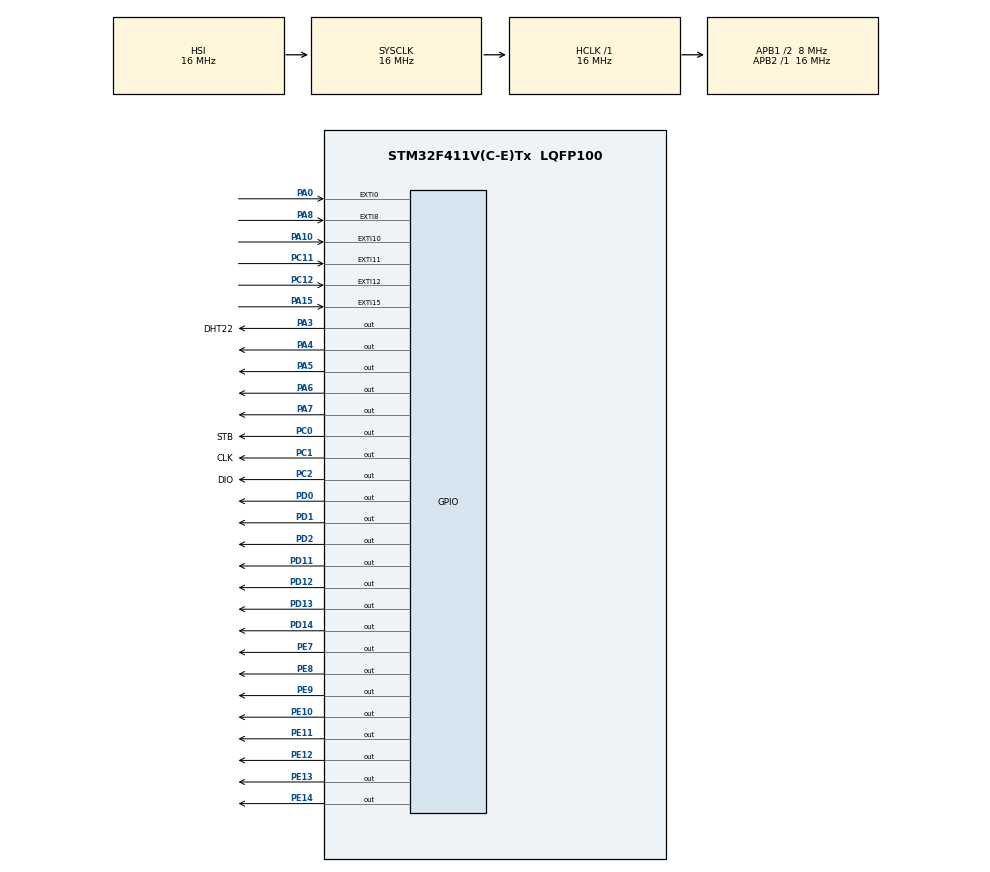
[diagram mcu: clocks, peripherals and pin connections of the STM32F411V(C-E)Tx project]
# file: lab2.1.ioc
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Mcu.Family=STM32F4
Mcu.Name=STM32F411V(C-E)Tx
Mcu.Package=LQFP100
NVIC.EXTI0_IRQn=true\:0\:0\:false\:false\:true\:true\:true\:true
NVIC.PriorityGroup=NVIC_PRIORITYGROUP_4
NVIC.RTC_WKUP_IRQn=true\:0\:0\:false\:false\:true\:true\:true\:true
NVIC.TIM2_IRQn=true\:0\:0\:false\:false\:true\:true\:true\:true
NVIC.TIM3_IRQn=true\:0\:0\:false\:false\:true\:true\:true\:true
PA0-WKUP.GPIO_ModeDefaultEXTI=GPIO_MODE_IT_FALLING
PA0-WKUP.Signal=GPXTI0
PA10.Signal=GPXTI10
PA13.Mode=Serial_Wire
PA13.Signal=SYS_JTMS-SWDIO
PA14.Mode=Serial_Wire
PA14.Signal=SYS_JTCK-SWCLK
PA15.Signal=GPXTI15
PA3.GPIO_Label=DHT22
PA3.Signal=GPIO_Output
PA4.Signal=GPIO_Output
PA5.Signal=GPIO_Output
PA6.Signal=GPIO_Output
PA7.Signal=GPIO_Output
PA8.Signal=GPXTI8
PC0.GPIO_Label=STB
PC0.Signal=GPIO_Output
PC1.GPIO_Label=CLK
PC1.Signal=GPIO_Output
PC11.Signal=GPXTI11
PC12.Signal=GPXTI12
PC2.GPIO_Label=DIO
PC2.Signal=GPIO_Output
PD0.Signal=GPIO_Output
PD1.Signal=GPIO_Output
PD11.Signal=GPIO_Output
PD12.Signal=GPIO_Output
PD13.Signal=GPIO_Output
PD14.Signal=GPIO_Output
PD2.Signal=GPIO_Output
PE10.Signal=GPIO_Output
PE11.Signal=GPIO_Output
PE12.Signal=GPIO_Output
PE13.Signal=GPIO_Output
PE14.Signal=GPIO_Output
PE7.Signal=GPIO_Output
PE8.Signal=GPIO_Output
PE9.Signal=GPIO_Output
PH0\ -\ OSC_IN.Mode=HSE-External-Oscillator
PH0\ -\ OSC_IN.Signal=RCC_OSC_IN
PH1\ -\ OSC_OUT.Mode=HSE-External-Oscillator
PH1\ -\ OSC_OUT.Signal=RCC_OSC_OUT
ProjectManager.HeapSize=0x200
ProjectManager.StackSize=0x400
ProjectManager.TargetToolchain=STM32CubeIDE
RCC.48MHZClocksFreq_Value=56250000
RCC.AHBFreq_Value=16000000
RCC.APB1CLKDivider=RCC_HCLK_DIV2
RCC.APB1Freq_Value=8000000
RCC.APB1TimFreq_Value=16000000
RCC.APB2Freq_Value=16000000
RCC.APB2TimFreq_Value=16000000
RCC.CortexFreq_Value=16000000
RCC.HCLKFreq_Value=16000000
RCC.HSE_VALUE=25000000
RCC.HSI_VALUE=16000000
RCC.LSE_VALUE=32768
RCC.PLLM=8
RCC.PLLN=72
RCC.PLLSourceVirtual=RCC_PLLSOURCE_HSE
RCC.SYSCLKFreq_VALUE=16000000
RCC.VCOOutputFreq_Value=225000000
RTC.WakeUpClock=RTC_WAKEUPCLOCK_RTCCLK_DIV16
RTC.WakeUpCounter=60000
TIM1.Period=0xffff
TIM1.Prescaler=16-1
TIM2.Period=1000
TIM2.Prescaler=16-1
TIM3.Period=60000
TIM3.Prescaler=16000-1
VP_RTC_VS_RTC_Activate.Mode=RTC_Enabled
VP_RTC_VS_RTC_WakeUp_intern.Mode=WakeUp
VP_TIM1_VS_ClockSourceINT.Mode=Internal
VP_TIM2_VS_ClockSourceINT.Mode=Internal
VP_TIM3_VS_ClockSourceINT.Mode=Internal
board=custom

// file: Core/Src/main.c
/* USER CODE BEGIN Header */
/**
  ******************************************************************************
  * @file           : main.c
  * @brief          : Main program body
  ******************************************************************************
  * @attention
  *
  * Copyright (c) 2023 STMicroelectronics.
  * All rights reserved.
  *
  * This software is licensed under terms that can be found in the LICENSE file
  * in the root directory of this software component.
  * If no LICENSE file comes with this software, it is provided AS-IS.
  *
  ******************************************************************************
  */
/* USER CODE END Header */
#include "main.h"
#include "rtc.h"
#include "tim.h"
#include "gpio.h"

/* USER CODE BEGIN Includes */
#include "stdbool.h"

/* USER CODE END Includes */

void SystemClock_Config(void);

/* USER CODE BEGIN 0 */

//clock variables and functions

RTC_TimeTypeDef sTime;
RTC_DateTypeDef sDate;

GPIO_TypeDef* HOUR1 = GPIOE;
uint16_t hour_pins1[] = {GPIO_PIN_7,GPIO_PIN_8 , GPIO_PIN_9, GPIO_PIN_10};

GPIO_TypeDef* HOUR2 = GPIOE;
uint16_t hour_pins2[] = {GPIO_PIN_11, GPIO_PIN_12, GPIO_PIN_13, GPIO_PIN_14};

GPIO_TypeDef* MIN1 = GPIOA;
uint16_t min_pins1[] = {GPIO_PIN_4, GPIO_PIN_5, GPIO_PIN_6, GPIO_PIN_7};

GPIO_TypeDef* MIN2 = GPIOD;
uint16_t min_pins2[] = {GPIO_PIN_11, GPIO_PIN_12, GPIO_PIN_13, GPIO_PIN_14};

void write_lamp(GPIO_TypeDef* H1_port, uint16_t* pins, int n){
  int zeros[4]={0};
  for(int i=0;n>0;i++)
      {
      zeros[i]=n%2;
      n=n/2;
     }
  for (int i=0; i<4; ++i){
  HAL_GPIO_WritePin(H1_port, pins[i], zeros[i]);}
}

void set_time(uint8_t hrs, uint8_t mins){
  sTime.Hours = hrs;
  sTime.Minutes = mins;
  sTime.Seconds = 0;
  HAL_RTC_SetTime(&hrtc, &sTime, RTC_FORMAT_BIN);
}

void get_and_write_time(){
//  RTC_TimeTypeDef sTime;
  HAL_RTC_GetTime(&hrtc, &sTime, RTC_FORMAT_BIN);
  uint8_t hours = sTime.Minutes;
  uint8_t mins = sTime.Seconds;
  write_lamp(HOUR1, hour_pins1, hours/10);
  write_lamp(HOUR2, hour_pins2, hours%10);
  write_lamp(MIN1, min_pins1, mins/10);
  write_lamp(MIN2, min_pins2, mins%10);
}

void reset_lamps(){
  write_lamp(HOUR1, hour_pins1, 0);
  write_lamp(HOUR2, hour_pins2, 0);
  write_lamp(MIN1, min_pins1, 0);
  write_lamp(MIN2, min_pins2, 0);
}

void standart_test(){
	for (int i =0; i<10; ++i){
		write_lamp(HOUR1, hour_pins1, i);
	  write_lamp(HOUR2, hour_pins2, i);
	  write_lamp(MIN1, min_pins1, i);
	  write_lamp(MIN2, min_pins2, i);
	  HAL_Delay(1000);
	  }
	write_lamp(HOUR1, hour_pins1, 1);
		  write_lamp(HOUR2, hour_pins2, 2);
		  write_lamp(MIN1, min_pins1, 3);
		  write_lamp(MIN2, min_pins2, 4);
		  HAL_Delay(2000);
}

//global pin variables

GPIO_TypeDef* port = GPIOC;
int CLK_PIN = CLK_Pin;
int DIO_PIN = DIO_Pin;
int STB_PIN = STB_Pin;
GPIO_TypeDef* DHT22_PORT = GPIOA;
int DHT22_PIN = DHT22_Pin;

//multi-use helper functions

GPIO_InitTypeDef GPIO_InitStruct = {0};

void chmode_out(GPIO_TypeDef* GPIO_PORT, int PIN){
  GPIO_InitStruct.Pin = PIN;
  GPIO_InitStruct.Mode = GPIO_MODE_OUTPUT_PP;
  HAL_GPIO_Init(GPIO_PORT, &GPIO_InitStruct);
}

void chmode_in(GPIO_TypeDef* GPIO_PORT, int PIN){
  GPIO_InitStruct.Pin = PIN;
  GPIO_InitStruct.Mode = GPIO_MODE_INPUT;
  HAL_GPIO_Init(GPIO_PORT, &GPIO_InitStruct);
}

void delay_us (uint16_t us)
{
  __HAL_TIM_SET_COUNTER(&htim1, 0);
  while (__HAL_TIM_GET_COUNTER(&htim1) < us);
}

//functions for TM1638

const uint8_t SegmCodes[18] =
{
  0x3F, // 0
  0x06, // 1
  0x5B, // 2
  0x4F, // 3
  0x66, // 4
  0x6D, // 5
  0x7D, // 6
  0x07, // 7
  0x7F, // 8
  0x6F, // 9
  0x77, // A
  0x7c, // b
  0x39, // C
  0x5E, // d
  0x79, // E
  0x71,  // F
  //!!!! not hex
  0x38,// L - 10
  0x76 // H - 11
};

void shift_out(GPIO_TypeDef* port, int CLK_PIN,
    int DIO_PIN, bool dir, uint8_t command){
    for (int i = 0; i < 8; i++)
    {
        bool output = false;
        if (dir)
        {
            output = command & 0b10000000;
            command = command << 1;
        }
        else
        {
            output = command & 0b00000001;
            command = command >> 1;
        }
        HAL_GPIO_WritePin(port, DIO_PIN, output);
        HAL_GPIO_WritePin(port, CLK_PIN, 1);
        delay_us(10);
        HAL_GPIO_WritePin(port, CLK_PIN, 0);
        delay_us(10);
    }
  }

  void send_command(uint8_t bt){
    HAL_GPIO_WritePin(port, STB_PIN, 0);
    shift_out(port, CLK_PIN,  DIO_PIN, false, bt);
    HAL_GPIO_WritePin(port, STB_PIN, 1);
  }
  void send_args(uint8_t bt){
    shift_out(port, CLK_PIN,  DIO_PIN, false, bt);
  }

  void reset_TM(){
    send_command(0x40);
    HAL_GPIO_WritePin(port, STB_PIN, 0);
    send_args(0xc0);
    for (uint8_t i = 0; i < 16; i++){
         send_args(0x00);
       }
    HAL_GPIO_WritePin(port, STB_PIN, 1);
  }

  void print_num(int n){
      send_command(0x40);
      HAL_GPIO_WritePin(GPIOD, STB_Pin, 0);
      send_args(0xc0);
      for (int i =0; i<8; ++i){
      send_args(SegmCodes[n%10]);
      n=n/10;
      send_args(0x00);}
      HAL_GPIO_WritePin(GPIOD, STB_Pin, 1);
    }

  void print_temp(int temp){
    send_command(0x40);
    HAL_GPIO_WritePin(GPIOD, STB_Pin, 0);
    send_args(0xc0);
    send_args(SegmCodes[temp/10]);
    send_args(0x00);
    send_args(SegmCodes[temp%10]);
    send_args(0x00);
    send_args(99);
    send_args(0x00);
    send_args(SegmCodes[0x0C]);
    HAL_GPIO_WritePin(GPIOD, STB_Pin, 1);
  }

  void print_hum(int hum){
      send_command(0x40);
      HAL_GPIO_WritePin(GPIOD, STB_Pin, 0);
      send_args(0xca);
      send_args(SegmCodes[hum/10]);
      send_args(0x00);
      send_args(SegmCodes[hum%10]);
      send_args(0x00);
      send_args(SegmCodes[0x11]);
      HAL_GPIO_WritePin(GPIOD, STB_Pin, 1);
    }

//functions for DHT22

  void DHT22_Start (void)
  {
//  DHT22_PORT->MODER |= GPIO_MODER_MODER3_0;
  chmode_out(DHT22_PORT, DHT22_PIN);
    HAL_GPIO_WritePin (DHT22_PORT, DHT22_PIN, 0);
    delay_us (1200);
    HAL_GPIO_WritePin (DHT22_PORT, DHT22_PIN, 1);
    delay_us (20);
//    DHT22_PORT->MODER &= ~(GPIO_MODER_MODER3);
    chmode_in(DHT22_PORT, DHT22_PIN);
  }

  uint8_t DHT22_Check_Response (void)
  {
//    DHT22_PORT->MODER &= ~(GPIO_MODER_MODER3);
  chmode_in(DHT22_PORT, DHT22_PIN);
    uint8_t Response = 0;
    delay_us (40);
    if (!(HAL_GPIO_ReadPin (DHT22_PORT, DHT22_PIN)))
    {
      delay_us (80);
      if ((HAL_GPIO_ReadPin (DHT22_PORT, DHT22_PIN))) Response = 1;
      else Response = -1;
    }

    while ((HAL_GPIO_ReadPin (DHT22_PORT, DHT22_PIN)));
    return Response;
  }

  uint8_t DHT22_Read (void)
  {
    uint8_t i,j;
    for (j=0;j<8;j++)
    {
      while (!(HAL_GPIO_ReadPin (DHT22_PORT, DHT22_PIN)));
      delay_us (40);
      if (!(HAL_GPIO_ReadPin (DHT22_PORT, DHT22_PIN)))
      {
        i&= ~(1<<(7-j));
      }
      else i|= (1<<(7-j));
      while ((HAL_GPIO_ReadPin (DHT22_PORT, DHT22_PIN)));
    }

    return i;
  }

  void TH_read_write(){
      DHT22_Start();
        uint8_t response = DHT22_Check_Response();
        if (response){
          float temp_Celsius = 0;
          float Humidity = 0;
          uint8_t hum1 = DHT22_Read();
          uint8_t hum2 = DHT22_Read();
          uint8_t tempC1 = DHT22_Read();
          uint8_t tempC2 = DHT22_Read();
          uint8_t SUM = DHT22_Read();
          uint8_t CHECK = hum1 + hum2 + tempC1 + tempC2;
          reset_TM();
          if (CHECK == SUM){
           if (tempC1>127){
             temp_Celsius = (float)tempC2/10*(-1);
           }
           else{
             temp_Celsius = (float)((tempC1<<8)|tempC2)/10;
           }
           Humidity = (float) ((hum1<<8)|hum2)/10;
           print_temp((int)temp_Celsius);
           print_hum((int)Humidity);
          }
          print_temp((int)temp_Celsius);
          print_hum((int)Humidity);
        }
        else{
          print_temp(0);
          print_hum(0);}
    }

/* USER CODE END 0 */

int main(void)
{

  /* MCU Configuration--------------------------------------------------------*/

  /* Reset of all peripherals, Initializes the Flash interface and the Systick. */
  HAL_Init();

  /* Configure the system clock */
  SystemClock_Config();

  /* Initialize all configured peripherals */
  MX_GPIO_Init();
  MX_TIM1_Init();
  MX_TIM2_Init();
  MX_RTC_Init();
  MX_TIM3_Init();
  /* USER CODE BEGIN 2 */
//  standart_test();
//  reset();

//  HAL_TIM_Base_Start_IT(&htim3);

  HAL_RTCEx_DeactivateWakeUpTimer(&hrtc);
    RTC_TimeTypeDef sTime;
    sTime.Hours = 1;
    sTime.Minutes = 23;
    sTime.Seconds = 0;
    HAL_RTC_SetTime(&hrtc, &sTime, RTC_FORMAT_BIN);
    get_and_write_time();
    HAL_TIM_Base_Start_IT(&htim2);
    HAL_TIM_Base_Start(&htim1);
    __HAL_TIM_SET_COUNTER(&htim3, 0);
    HAL_RTCEx_SetWakeUpTimer_IT(&hrtc, 60000, RTC_WAKEUPCLOCK_RTCCLK_DIV16);
    send_command(0x8a);
    reset_TM();

  /* USER CODE END 2 */

  /* Infinite loop */
  while (1)
  {

  }
}

void SystemClock_Config(void)
{
  RCC_OscInitTypeDef RCC_OscInitStruct = {0};
  RCC_ClkInitTypeDef RCC_ClkInitStruct = {0};

  /** Configure the main internal regulator output voltage
  */
  __HAL_RCC_PWR_CLK_ENABLE();
  __HAL_PWR_VOLTAGESCALING_CONFIG(PWR_REGULATOR_VOLTAGE_SCALE1);

  /** Initializes the RCC Oscillators according to the specified parameters
  * in the RCC_OscInitTypeDef structure.
  */
  RCC_OscInitStruct.OscillatorType = RCC_OSCILLATORTYPE_HSI|RCC_OSCILLATORTYPE_LSI;
  RCC_OscInitStruct.HSIState = RCC_HSI_ON;
  RCC_OscInitStruct.HSICalibrationValue = RCC_HSICALIBRATION_DEFAULT;
  RCC_OscInitStruct.LSIState = RCC_LSI_ON;
  RCC_OscInitStruct.PLL.PLLState = RCC_PLL_NONE;
  if (HAL_RCC_OscConfig(&RCC_OscInitStruct) != HAL_OK)
  {
    Error_Handler();
  }

  /** Initializes the CPU, AHB and APB buses clocks
  */
  RCC_ClkInitStruct.ClockType = RCC_CLOCKTYPE_HCLK|RCC_CLOCKTYPE_SYSCLK
                              |RCC_CLOCKTYPE_PCLK1|RCC_CLOCKTYPE_PCLK2;
  RCC_ClkInitStruct.SYSCLKSource = RCC_SYSCLKSOURCE_HSI;
  RCC_ClkInitStruct.AHBCLKDivider = RCC_SYSCLK_DIV1;
  RCC_ClkInitStruct.APB1CLKDivider = RCC_HCLK_DIV2;
  RCC_ClkInitStruct.APB2CLKDivider = RCC_HCLK_DIV1;

  if (HAL_RCC_ClockConfig(&RCC_ClkInitStruct, FLASH_LATENCY_0) != HAL_OK)
  {
    Error_Handler();
  }
}

/* USER CODE BEGIN 4 */
//void HAL_RTCEx_WakeUpTimerEventCallback(RTC_HandleTypeDef *hrtc)
//{
////	static RTC_TimeTypeDef sTime;
////		HAL_RTC_GetTime(hrtc, &sTime, RTC_FORMAT_BIN);
////		get_and_write_time();
//	reset_lamps();
//	print_num(__HAL_TIM_GET_COUNTER(&htim3));
//	HAL_Delay(1000);
//	print_temp(25);
//
////	print_num(__HAL_TIM_GET_COUNTER(&htim3));
//}

void HAL_TIM_PeriodElapsedCallback(TIM_HandleTypeDef *htim)
{
  // Check which version of the timer triggered this callback and toggle LED
  if (htim == &htim2 )
  {
	  get_and_write_time();
  }
}

/* USER CODE END 4 */

void Error_Handler(void)
{
  __disable_irq();
  while (1)
  {
  }
}
